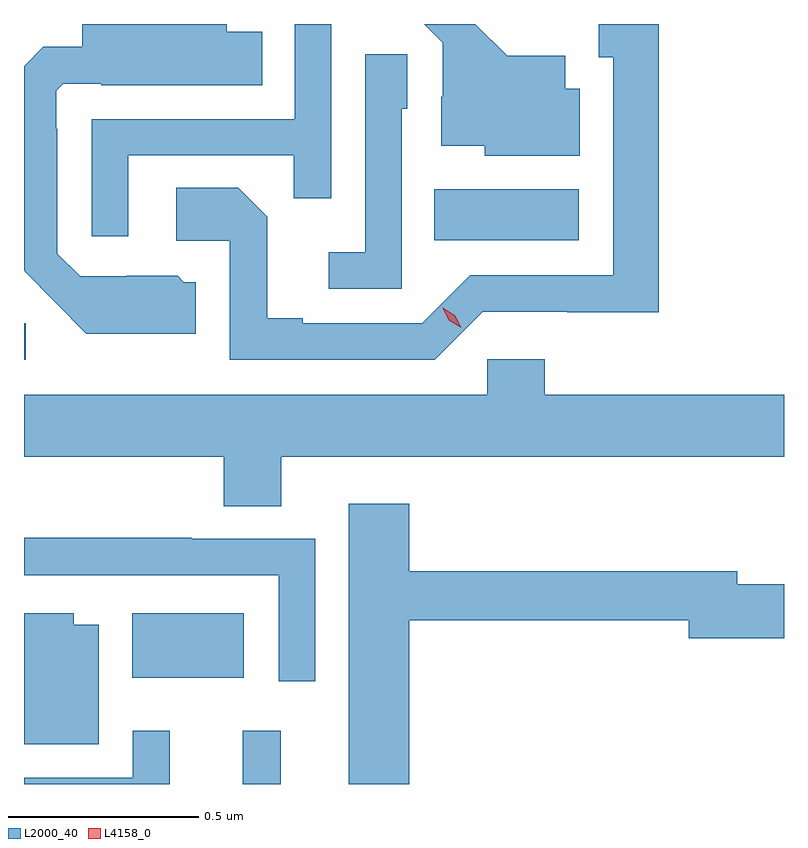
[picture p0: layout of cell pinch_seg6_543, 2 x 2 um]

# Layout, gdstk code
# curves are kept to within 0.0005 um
import gdstk
lib = gdstk.Library(unit=1e-6, precision=1e-09)
def R(c, l, rs):  # rectangles x0, y0, x1, y1
    for r in rs: c.add(gdstk.rectangle(r[:2], r[2:], *l))
def P(c, l, *ps):  # polygons
    for p in ps: c.add(gdstk.Polygon(p, *l))
L2000_40 = (2000, 40)
L4158_0 = (4158, 0)

pinch_seg6_543 = lib.new_cell('pinch_seg6_543')
R(pinch_seg6_543, L2000_40, [(782.663,949.139,782.762,949.279), (782.372,949.418,782.665,949.588), (782.087,950.256,782.092,950.352), (783.166,950.57,783.547,950.704)])
P(pinch_seg6_543, L2000_40, [(782.539,950.46),(782.508,950.46),(782.492,950.476),(782.358,950.476),(782.358,950.475),(782.235,950.475),(782.175,950.535),(782.175,950.864),(782.172,950.864),(782.172,950.964),(782.19,950.982),(782.29,950.982),(782.29,950.978),(782.714,950.978),(782.714,951.118),(782.62,951.118),(782.62,951.139),(782.24,951.139),(782.24,951.079),(782.138,951.079),(782.087,951.028),(782.087,950.49),(782.251,950.324),(782.539,950.324)],
  [(782.361,950.793),(782.797,950.793),(782.797,950.68),(782.895,950.68),(782.895,951.139),(782.799,951.139),(782.799,950.889),(782.265,950.889),(782.265,950.58),(782.361,950.58)],
  [(783.55,950.968),(783.511,950.968),(783.511,951.055),(783.359,951.055),(783.274,951.139),(783.14,951.139),(783.189,951.09),(783.189,950.948),(783.185,950.948),(783.185,950.819),(783.3,950.819),(783.3,950.792),(783.55,950.792)],
  [(783.294,950.382),(783.516,950.382),(783.516,950.381),(783.757,950.381),(783.757,951.139),(783.599,951.139),(783.599,951.051),(783.638,951.051),(783.638,950.478),(783.261,950.478),(783.135,950.352),(782.821,950.352),(782.821,950.365),(782.727,950.365),(782.727,950.632),(782.651,950.708),(782.487,950.708),(782.487,950.568),(782.628,950.568),(782.628,950.256),(783.168,950.256)],
  [(783.081,950.916),(783.096,950.916),(783.096,951.059),(782.985,951.059),(782.985,950.539),(782.889,950.539),(782.889,950.442),(783.081,950.442)],
  [(782.764,950),(784.087,950),(784.087,950.164),(783.458,950.164),(783.458,950.257),(783.306,950.257),(783.306,950.164),(782.087,950.164),(782.087,950),(782.612,950),(782.612,949.87),(782.764,949.87)],
  [(783.101,949.57),(783.836,949.57),(783.836,949.523),(784.087,949.523),(784.087,949.665),(783.964,949.665),(783.964,949.699),(783.101,949.699),(783.101,949.876),(782.942,949.876),(782.942,949.139),(783.101,949.139)],
  [(782.853,949.785),(782.528,949.785),(782.528,949.787),(782.087,949.787),(782.087,949.689),(782.757,949.689),(782.757,949.41),(782.853,949.41)],
  [(782.284,949.558),(782.218,949.558),(782.218,949.588),(782.087,949.588),(782.087,949.244),(782.284,949.244)],
  [(782.471,949.279),(782.373,949.279),(782.373,949.155),(782.087,949.155),(782.087,949.139),(782.471,949.139)])
P(pinch_seg6_543, L4158_0, [(783.237,950.34),(783.205,950.359),(783.189,950.392),(783.189,950.392),(783.189,950.392),(783.22,950.373),(783.237,950.34),(783.237,950.34)])

lib.write_gds('pinch_seg6_543.gds')
